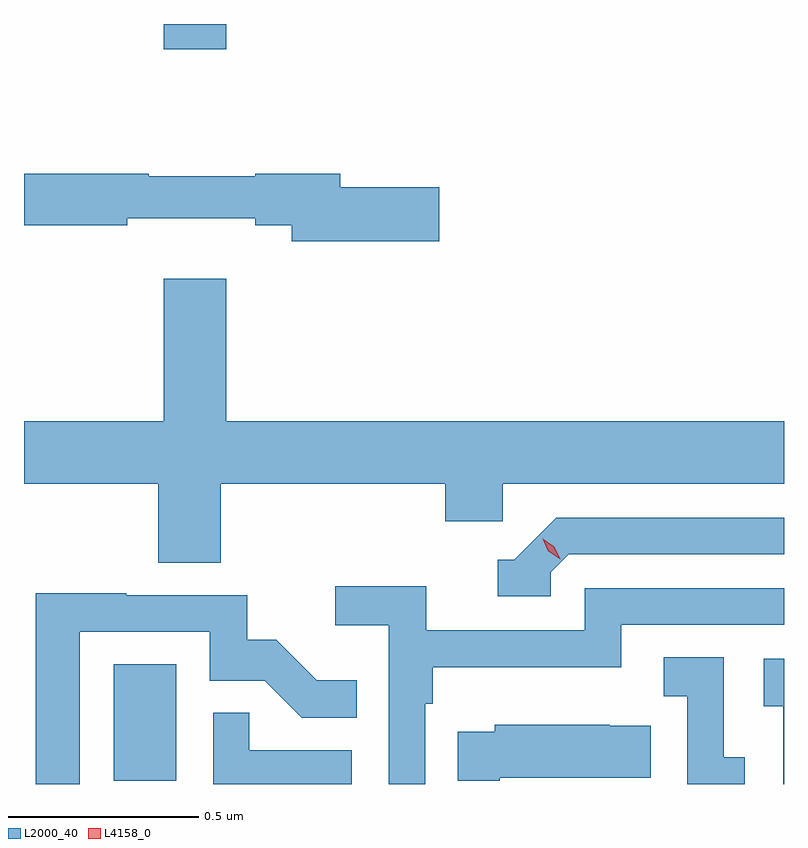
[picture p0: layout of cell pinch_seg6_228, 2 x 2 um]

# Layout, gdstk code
import gdstk
lib = gdstk.Library(unit=1e-6, precision=1e-09)
def R(c, l, rs):  # rectangles x0, y0, x1, y1
    for r in rs: c.add(gdstk.rectangle(r[:2], r[2:], *l))
def P(c, l, *ps):  # polygons
    for p in ps: c.add(gdstk.Polygon(p, *l))
L2000_40 = (2000, 40)
L4158_0 = (4158, 0)

pinch_seg6_228 = lib.new_cell('pinch_seg6_228')
R(pinch_seg6_228, L2000_40, [(1141.898,934.566,1142.062,934.873), (1142.03,936.492,1142.194,936.558)])
P(pinch_seg6_228, L2000_40, [(1142.755,936.128),(1142.494,936.128),(1142.494,936.164),(1142.27,936.164),(1142.27,936.157),(1141.99,936.157),(1141.99,936.164),(1141.662,936.164),(1141.662,936.028),(1141.934,936.028),(1141.934,936.047),(1142.27,936.047),(1142.27,936.028),(1142.366,936.028),(1142.366,935.986),(1142.755,935.986)],
  [(1142.18,935.348),(1142.771,935.348),(1142.771,935.25),(1142.922,935.25),(1142.922,935.348),(1143.662,935.348),(1143.662,935.512),(1142.194,935.512),(1142.194,935.887),(1142.03,935.887),(1142.03,935.512),(1141.662,935.512),(1141.662,935.348),(1142.015,935.348),(1142.015,935.14),(1142.18,935.14)],
  [(1143.048,935.115),(1143.096,935.163),(1143.662,935.163),(1143.662,935.259),(1143.063,935.259),(1142.952,935.148),(1142.909,935.148),(1142.909,935.052),(1143.048,935.052)],
  [(1142.718,934.769),(1142.738,934.769),(1142.738,934.865),(1143.234,934.865),(1143.234,934.977),(1143.662,934.977),(1143.662,935.073),(1143.138,935.073),(1143.138,934.962),(1142.72,934.962),(1142.72,935.078),(1142.481,935.078),(1142.481,934.976),(1142.622,934.976),(1142.622,934.558),(1142.718,934.558)],
  [(1141.809,934.959),(1142.151,934.959),(1142.151,934.83),(1142.295,934.83),(1142.393,934.732),(1142.537,934.732),(1142.537,934.831),(1142.433,934.831),(1142.326,934.938),(1142.25,934.938),(1142.25,935.055),(1141.931,935.055),(1141.931,935.06),(1141.693,935.06),(1141.693,934.558),(1141.809,934.558)],
  [(1143.559,934.629),(1143.504,934.629),(1143.504,934.892),(1143.345,934.892),(1143.345,934.789),(1143.408,934.789),(1143.408,934.558),(1143.559,934.558)],
  [(1143.662,934.887),(1143.609,934.887),(1143.609,934.763),(1143.66,934.763),(1143.66,934.558),(1143.662,934.558)],
  [(1142.524,934.647),(1142.255,934.647),(1142.255,934.745),(1142.16,934.745),(1142.16,934.558),(1142.524,934.558)],
  [(1142.914,934.574),(1143.311,934.574),(1143.311,934.711),(1143.203,934.711),(1143.203,934.714),(1142.901,934.714),(1142.901,934.696),(1142.803,934.696),(1142.803,934.567),(1142.914,934.567)])
P(pinch_seg6_228, L4158_0, [(1143.073,935.15),(1143.042,935.17),(1143.027,935.203),(1143.027,935.203),(1143.027,935.203),(1143.058,935.183),(1143.073,935.15),(1143.073,935.15)])

lib.write_gds('pinch_seg6_228.gds')
